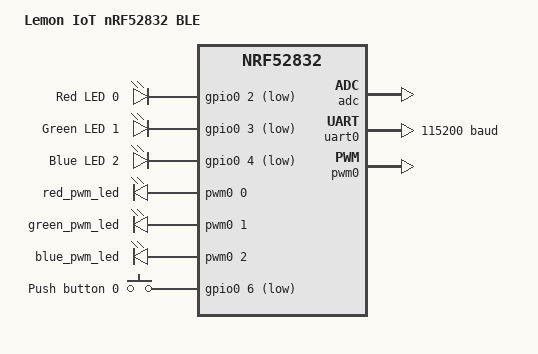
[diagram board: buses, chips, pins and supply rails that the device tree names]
/*
 * Copyright (c) 2023 Aaron Mohtar & Co Pty Ltd
 * Copyright (c) 2017 Shawn Nock <shawn@monadnock.ca>
 * Copyright (c) 2017 Linaro Limited
 *
 * SPDX-License-Identifier: Apache-2.0
 */

/dts-v1/;
#include <nordic/nrf52832_qfaa.dtsi>
#include "lemon_iot_nrf52832-pinctrl.dtsi"

/ {
	model = "Lemon IoT nRF52832 BLE";
	compatible = "lemon,iot-nrf52832";

	chosen {
		zephyr,console = &uart0;
		zephyr,shell-uart = &uart0;
		zephyr,uart-mcumgr = &uart0;
		zephyr,bt-mon-uart = &uart0;
		zephyr,bt-c2h-uart = &uart0;
		zephyr,sram = &sram0;
		zephyr,flash = &flash0;
		zephyr,code-partition = &slot0_partition;
	};

	leds {
		compatible = "gpio-leds";
		led0: led_0 {
			gpios = <&gpio0 2 GPIO_ACTIVE_LOW>;
			label = "Red LED 0";
		};
		led1: led_1 {
			gpios = <&gpio0 3 GPIO_ACTIVE_LOW>;
			label = "Green LED 1";
		};
		led2: led_2 {
			gpios = <&gpio0 4 GPIO_ACTIVE_LOW>;
			label = "Blue LED 2";
		};
	};

	pwmleds {
		compatible = "pwm-leds";
		red_pwm_led: pwm_led_0 {
			pwms = <&pwm0 0 PWM_MSEC(20) PWM_POLARITY_INVERTED>;
		};
		green_pwm_led: pwm_led_1 {
			pwms = <&pwm0 1 PWM_MSEC(20) PWM_POLARITY_INVERTED>;
		};
		blue_pwm_led: pwm_led_2 {
			pwms = <&pwm0 2 PWM_MSEC(20) PWM_POLARITY_INVERTED>;
		};
	};

	buttons {
		compatible = "gpio-keys";
		button0: button_0 {
			gpios = <&gpio0 6 (GPIO_PULL_UP | GPIO_ACTIVE_LOW)>;
			label = "Push button 0";
		};
	};

	/* These aliases are provided for compatibility with samples */
	aliases {
		led0 = &led0;
		led1 = &led1;
		led2 = &led2;
		pwm-led0 = &red_pwm_led;
		pwm-led1 = &green_pwm_led;
		pwm-led2 = &blue_pwm_led;
		red-pwm-led = &red_pwm_led;
		green-pwm-led = &green_pwm_led;
		blue-pwm-led = &blue_pwm_led;
		sw0 = &button0;
		bootloader-led0 = &led0;
		mcuboot-button0 = &button0;
		mcuboot-led0 = &led0;
		watchdog0 = &wdt0;
	};
};

&adc {
	status = "okay";
};

&gpiote {
	status = "okay";
};

&gpio0 {
	status = "okay";
};

&uart0 {
	status = "okay";
	compatible = "nordic,nrf-uarte";
	current-speed = <115200>;
	pinctrl-0 = <&uart0_default>;
	pinctrl-1 = <&uart0_sleep>;
	pinctrl-names = "default", "sleep";
};

&pwm0 {
	status = "okay";
	pinctrl-0 = <&pwm0_default>;
	pinctrl-1 = <&pwm0_sleep>;
	pinctrl-names = "default", "sleep";
};

&flash0 {

	partitions {
		compatible = "fixed-partitions";
		#address-cells = <1>;
		#size-cells = <1>;

		boot_partition: partition@0 {
			label = "mcuboot";
			reg = <0x00000000 0xc000>;
		};
		slot0_partition: partition@c000 {
			label = "image-0";
			reg = <0x0000C000 0x32000>;
		};
		slot1_partition: partition@3e000 {
			label = "image-1";
			reg = <0x0003E000 0x32000>;
		};
		scratch_partition: partition@70000 {
			label = "image-scratch";
			reg = <0x00070000 0xa000>;
		};
		storage_partition: partition@7a000 {
			label = "storage";
			reg = <0x0007a000 0x00006000>;
		};
	};
};
